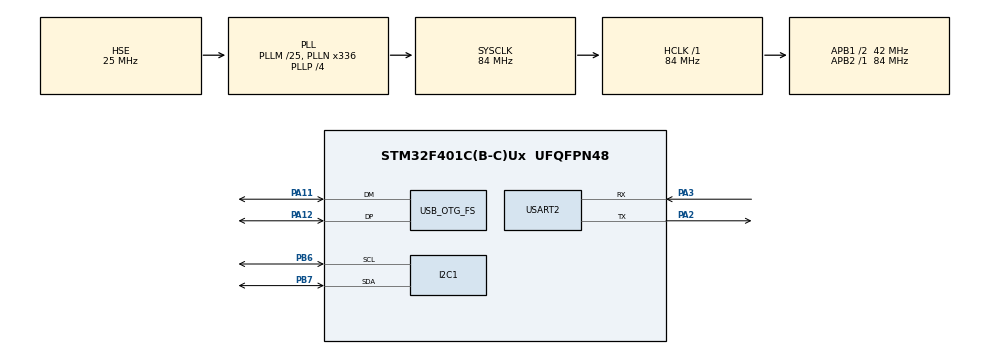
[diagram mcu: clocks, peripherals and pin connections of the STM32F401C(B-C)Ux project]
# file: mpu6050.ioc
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Mcu.Family=STM32F4
Mcu.Name=STM32F401C(B-C)Ux
Mcu.Package=UFQFPN48
NVIC.OTG_FS_IRQn=true\:0\:0\:false\:false\:true\:false\:true\:true
NVIC.PriorityGroup=NVIC_PRIORITYGROUP_4
PA11.Mode=Device_Only
PA11.Signal=USB_OTG_FS_DM
PA12.Mode=Device_Only
PA12.Signal=USB_OTG_FS_DP
PA13.Mode=Serial_Wire
PA13.Signal=SYS_JTMS-SWDIO
PA14.Mode=Serial_Wire
PA14.Signal=SYS_JTCK-SWCLK
PA2.Mode=Asynchronous
PA2.Signal=USART2_TX
PA3.Mode=Asynchronous
PA3.Signal=USART2_RX
PB6.Mode=I2C
PB6.Signal=I2C1_SCL
PB7.Mode=I2C
PB7.Signal=I2C1_SDA
PH0\ -\ OSC_IN.Mode=HSE-External-Oscillator
PH0\ -\ OSC_IN.Signal=RCC_OSC_IN
PH1\ -\ OSC_OUT.Mode=HSE-External-Oscillator
PH1\ -\ OSC_OUT.Signal=RCC_OSC_OUT
ProjectManager.HeapSize=0x200
ProjectManager.StackSize=0x400
ProjectManager.TargetToolchain=CMake
RCC.48MHZClocksFreq_Value=48000000
RCC.AHBFreq_Value=84000000
RCC.APB1CLKDivider=RCC_HCLK_DIV2
RCC.APB1Freq_Value=42000000
RCC.APB1TimFreq_Value=84000000
RCC.APB2Freq_Value=84000000
RCC.APB2TimFreq_Value=84000000
RCC.CortexFreq_Value=84000000
RCC.HCLKFreq_Value=84000000
RCC.HSE_VALUE=25000000
RCC.HSI_VALUE=16000000
RCC.LSE_VALUE=32768
RCC.PLLM=25
RCC.PLLN=336
RCC.PLLP=RCC_PLLP_DIV4
RCC.PLLQ=7
RCC.SYSCLKFreq_VALUE=84000000
RCC.SYSCLKSource=RCC_SYSCLKSOURCE_PLLCLK
RCC.VCOOutputFreq_Value=336000000
USART2.VirtualMode=VM_ASYNC
USB_DEVICE.CLASS_NAME_FS=CDC
USB_DEVICE.VirtualMode=Cdc
USB_DEVICE.VirtualModeFS=Cdc_FS
USB_OTG_FS.VirtualMode=Device_Only
VP_USB_DEVICE_VS_USB_DEVICE_CDC_FS.Mode=CDC_FS
board=custom

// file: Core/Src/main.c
/* USER CODE BEGIN Header */
/**
  ******************************************************************************
  * @file           : main.c
  * @brief          : Main program body
  ******************************************************************************
  * @attention
  *
  * Copyright (c) 2026 STMicroelectronics.
  * All rights reserved.
  *
  * This software is licensed under terms that can be found in the LICENSE file
  * in the root directory of this software component.
  * If no LICENSE file comes with this software, it is provided AS-IS.
  *
  ******************************************************************************
  */
/* USER CODE END Header */
#include "main.h"
#include "usb_device.h"

/* USER CODE BEGIN Includes */
#include <stdio.h>
#include "mpu6050.h"
#include "frame.h"
#include "usbd_cdc_if.h"
extern USBD_HandleTypeDef hUsbDeviceFS;   /* defined in USB_DEVICE/App/usb_device.c */
/* USER CODE END Includes */

I2C_HandleTypeDef hi2c1;

UART_HandleTypeDef huart2;

/* USER CODE BEGIN PV */
static MPU6050_t mpu;

#define SAMPLE_PERIOD_MS  10U   /* 100 Hz, matches MPU6050_CONFIG_DEFAULT (1 kHz / (1+9)) */
/* USER CODE END PV */

void SystemClock_Config(void);
static void MX_GPIO_Init(void);
static void MX_I2C1_Init(void);
static void MX_USART2_UART_Init(void);
/* USER CODE BEGIN PFP */
static void stream_frame(uint8_t cfg, uint8_t seq, uint32_t t_us, const MPU6050_Raw_t *raw);

/* USER CODE END PFP */

int main(void)
{

  /* MCU Configuration--------------------------------------------------------*/

  /* Reset of all peripherals, Initializes the Flash interface and the Systick. */
  HAL_Init();

  /* Configure the system clock */
  SystemClock_Config();

  /* Initialize all configured peripherals */
  MX_GPIO_Init();
  MX_I2C1_Init();
  MX_USART2_UART_Init();
  MX_USB_DEVICE_Init();
  /* USER CODE BEGIN 2 */
  /* Wait (max 3 s) for the PC to enumerate the CDC device, then give the
     terminal a moment to open the port so the first lines are not lost. */
  for (uint32_t t0 = HAL_GetTick();
       hUsbDeviceFS.dev_state != USBD_STATE_CONFIGURED && (HAL_GetTick() - t0) < 3000U; )
  {
    HAL_Delay(10);
  }
  HAL_Delay(1000);
  printf("\r\nMPU6050 demo\r\n");

  const MPU6050_Config_t cfg = MPU6050_CONFIG_DEFAULT;
  MPU6050_Status st = MPU6050_Init(&mpu, &hi2c1, 0U, &cfg);   /* AD0 = GND -> 0x68 */
  while (st != MPU6050_OK)
  {
    /* Keep reporting so the message is seen even if the terminal opens late */
    printf("MPU6050 init failed: %d (check wiring, 3.3V, AD0=GND)\r\n", (int)st);
    HAL_Delay(1000);
    st = MPU6050_Init(&mpu, &hi2c1, 0U, &cfg);
  }

  printf("Calibrating, keep the sensor still and flat...\r\n");
  if (MPU6050_Calibrate(&mpu, 500U) != MPU6050_OK)
  {
    printf("Calibration failed\r\n");
    Error_Handler();
  }
  printf("Streaming binary frames at 100 Hz\r\n");

  /* Free-running cycle counter -> microsecond timestamps */
  CoreDebug->DEMCR |= CoreDebug_DEMCR_TRCENA_Msk;
  DWT->CYCCNT = 0;
  DWT->CTRL |= DWT_CTRL_CYCCNTENA_Msk;

  const uint8_t frame_cfg = (uint8_t)((unsigned)cfg.accel_range | ((unsigned)cfg.gyro_range << 2));
  uint8_t frame_seq = 0U;
  uint32_t next_tick = HAL_GetTick();
  /* USER CODE END 2 */

  /* Infinite loop */
  while (1)
  {

    /* USER CODE BEGIN 3 */
    /* Fixed 100 Hz pacing, independent of how long each I2C read takes */
    next_tick += SAMPLE_PERIOD_MS;
    while ((int32_t)(HAL_GetTick() - next_tick) < 0)
    {
    }

    uint32_t t_us = DWT->CYCCNT / (SystemCoreClock / 1000000U);
    MPU6050_Raw_t raw;
    if (MPU6050_ReadRawCalibrated(&mpu, &raw) == MPU6050_OK)
    {
      stream_frame(frame_cfg, frame_seq, t_us, &raw);
    }
    else
    {
      MPU6050_RecoverBus(&mpu);   /* a gap in seq tells the PC a sample was lost */
    }
    frame_seq++;
  }
  /* USER CODE END 3 */
}

void SystemClock_Config(void)
{
  RCC_OscInitTypeDef RCC_OscInitStruct = {0};
  RCC_ClkInitTypeDef RCC_ClkInitStruct = {0};

  /** Configure the main internal regulator output voltage
  */
  __HAL_RCC_PWR_CLK_ENABLE();
  __HAL_PWR_VOLTAGESCALING_CONFIG(PWR_REGULATOR_VOLTAGE_SCALE2);

  /** Initializes the RCC Oscillators according to the specified parameters
  * in the RCC_OscInitTypeDef structure.
  */
  RCC_OscInitStruct.OscillatorType = RCC_OSCILLATORTYPE_HSE;
  RCC_OscInitStruct.HSEState = RCC_HSE_ON;
  RCC_OscInitStruct.PLL.PLLState = RCC_PLL_ON;
  RCC_OscInitStruct.PLL.PLLSource = RCC_PLLSOURCE_HSE;
  RCC_OscInitStruct.PLL.PLLM = 25;
  RCC_OscInitStruct.PLL.PLLN = 336;
  RCC_OscInitStruct.PLL.PLLP = RCC_PLLP_DIV4;
  RCC_OscInitStruct.PLL.PLLQ = 7;
  if (HAL_RCC_OscConfig(&RCC_OscInitStruct) != HAL_OK)
  {
    Error_Handler();
  }

  /** Initializes the CPU, AHB and APB buses clocks
  */
  RCC_ClkInitStruct.ClockType = RCC_CLOCKTYPE_HCLK|RCC_CLOCKTYPE_SYSCLK
                              |RCC_CLOCKTYPE_PCLK1|RCC_CLOCKTYPE_PCLK2;
  RCC_ClkInitStruct.SYSCLKSource = RCC_SYSCLKSOURCE_PLLCLK;
  RCC_ClkInitStruct.AHBCLKDivider = RCC_SYSCLK_DIV1;
  RCC_ClkInitStruct.APB1CLKDivider = RCC_HCLK_DIV2;
  RCC_ClkInitStruct.APB2CLKDivider = RCC_HCLK_DIV1;

  if (HAL_RCC_ClockConfig(&RCC_ClkInitStruct, FLASH_LATENCY_2) != HAL_OK)
  {
    Error_Handler();
  }
}

static void MX_I2C1_Init(void)
{

  hi2c1.Instance = I2C1;
  hi2c1.Init.ClockSpeed = 100000;
  hi2c1.Init.DutyCycle = I2C_DUTYCYCLE_2;
  hi2c1.Init.OwnAddress1 = 0;
  hi2c1.Init.AddressingMode = I2C_ADDRESSINGMODE_7BIT;
  hi2c1.Init.DualAddressMode = I2C_DUALADDRESS_DISABLE;
  hi2c1.Init.OwnAddress2 = 0;
  hi2c1.Init.GeneralCallMode = I2C_GENERALCALL_DISABLE;
  hi2c1.Init.NoStretchMode = I2C_NOSTRETCH_DISABLE;
  if (HAL_I2C_Init(&hi2c1) != HAL_OK)
  {
    Error_Handler();
  }

}

static void MX_USART2_UART_Init(void)
{

  huart2.Instance = USART2;
  huart2.Init.BaudRate = 115200;
  huart2.Init.WordLength = UART_WORDLENGTH_8B;
  huart2.Init.StopBits = UART_STOPBITS_1;
  huart2.Init.Parity = UART_PARITY_NONE;
  huart2.Init.Mode = UART_MODE_TX_RX;
  huart2.Init.HwFlowCtl = UART_HWCONTROL_NONE;
  huart2.Init.OverSampling = UART_OVERSAMPLING_16;
  if (HAL_UART_Init(&huart2) != HAL_OK)
  {
    Error_Handler();
  }

}

static void MX_GPIO_Init(void)
{

  /* GPIO Ports Clock Enable */
  __HAL_RCC_GPIOH_CLK_ENABLE();
  __HAL_RCC_GPIOA_CLK_ENABLE();
  __HAL_RCC_GPIOB_CLK_ENABLE();

}

/* USER CODE BEGIN 4 */
/* USB CDC TX helpers.
   CDC_Transmit_FS() does not copy the data, so every buffer handed to it must
   stay valid until the transfer completes (TxState back to 0). */
static int cdc_busy(void)
{
  USBD_CDC_HandleTypeDef *hcdc = (USBD_CDC_HandleTypeDef *)hUsbDeviceFS.pClassData;
  return hcdc == NULL || hcdc->TxState != 0U;
}

/* Binary frame: never blocks; if the previous transfer is still running the
   frame is dropped (the PC sees the gap in seq). */
static void stream_frame(uint8_t cfg, uint8_t seq, uint32_t t_us, const MPU6050_Raw_t *raw)
{
  static uint8_t frame_buf[FRAME_LEN];

  if (hUsbDeviceFS.dev_state != USBD_STATE_CONFIGURED || cdc_busy())
  {
    return;
  }
  Frame_Pack(frame_buf, cfg, seq, t_us, raw);
  (void)CDC_Transmit_FS(frame_buf, FRAME_LEN);
}

/* printf -> USB CDC (overrides the weak _write in syscalls.c). Text can be
   mixed with the binary stream: the PC parser resyncs on the 0xAA 0x55 header
   and ASCII text never contains it. */
int _write(int file, char *ptr, int len)
{
  static uint8_t tx_buf[256];
  (void)file;

  if (hUsbDeviceFS.dev_state != USBD_STATE_CONFIGURED)
  {
    return len;   /* no host connected: drop the data instead of blocking */
  }

  int sent = 0;
  while (sent < len)
  {
    uint16_t chunk = (uint16_t)((len - sent) > (int)sizeof(tx_buf) ? sizeof(tx_buf) : (len - sent));
    uint32_t t0 = HAL_GetTick();

    while (cdc_busy())
    {
      if ((HAL_GetTick() - t0) > 20U)
      {
        return sent;   /* USB stalled: give up on the rest */
      }
    }
    for (uint16_t i = 0; i < chunk; i++)
    {
      tx_buf[i] = (uint8_t)ptr[sent + i];
    }
    if (CDC_Transmit_FS(tx_buf, chunk) != USBD_OK)
    {
      return sent;
    }
    sent += chunk;
  }
  return len;
}
/* USER CODE END 4 */

void Error_Handler(void)
{
  __disable_irq();
  while (1)
  {
  }
}
